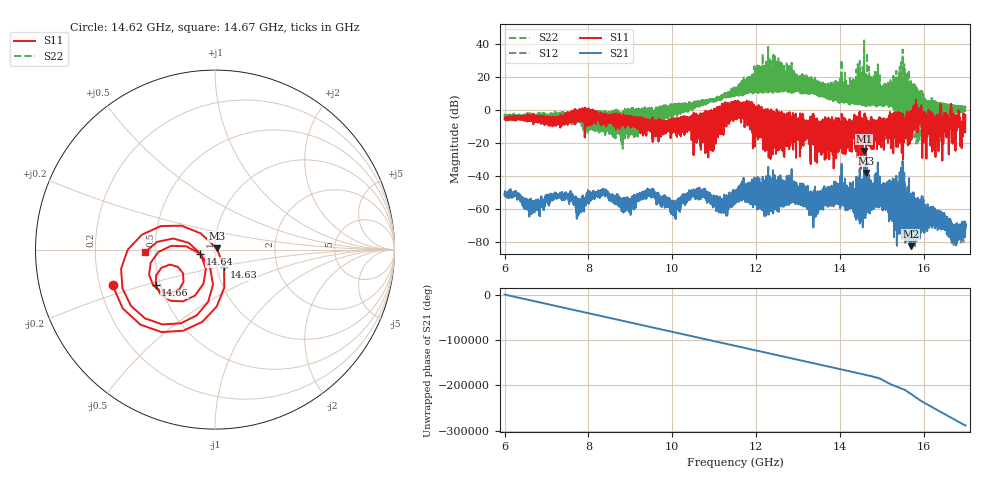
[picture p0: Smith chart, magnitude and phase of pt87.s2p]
#  HZ  S  RI  R  50.00
! Rohde & Schwarz Vector Network Analyzer
! Rohde-Schwarz,ZNA67-2Port,1332450062101215,3.01
! Created: UTC 10/19/2026, 10:33:30 AM
! freq[Hz]  re:S11  im:S11  re:S21  im:S21  re:S12  im:S12  re:S22  im:S22
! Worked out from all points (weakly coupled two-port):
!   11001 points, 6 GHz to 17 GHz, reference 50 ohm
!   highest |S21| = -24.96 dB at 14.58 GHz (marker M1); lowest = -82.7 dB at 15.69 GHz (marker M2)
!   lowest |S11| = -38.4 dB at 14.63 GHz (marker M3), VSWR 1.02, Z = 51 + j0.74 ohm
!   |S11| at or under -10 dB: 13.46879 GHz to 13.49492 GHz (26.14 MHz wide, 0.194 % of centre); 13.68905 GHz to 13.71524 GHz (26.19 MHz wide, 0.191 % of centre); 13.92232 GHz to 13.94879 GHz (26.48 MHz wide, 0.19 % of centre) (the widest 3 of 520)
!   |S22| runs from -23.6 to 42.0 dB; largest |S21 - S12| = 0.0068
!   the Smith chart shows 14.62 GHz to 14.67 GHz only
!   S11 on the Smith chart (normalised r, x): 14.62 GHz: 0.25, -0.16; 14.63 GHz: 1.08, -0.21; 14.64 GHz: 0.85, -0.04; 14.66 GHz: 0.47, -0.22; 14.67 GHz: 0.44, -0.02
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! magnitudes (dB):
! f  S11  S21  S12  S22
! 6 GHz  -5.8  -51.2  -51.3  -4.7
! 7.834 GHz  -3.3  -58.3  -58.3  -1.3
! 9.667 GHz  -6.1  -50.2  -50.5  2.1
! 10.04 GHz  -11.5  -62.4  -62.1  -0.6
! 10.62 GHz  -3.8  -49.7  -49.7  3.4
! 11.16 GHz  -14.8  -56.5  -56.9  5.9
! 11.5 GHz  5.0  -52.9  -52.7  10.5
! 12.84 GHz  -9.5  -51.6  -51.5  12.3
! 13.33 GHz  -12.7  -57.9  -58.2  12.0
! 13.96 GHz  -12.1  -57.2  -56.8  4.5
! 14.58 GHz  -9.5  -25.0  -24.6  42.0
! 14.62 GHz  -4.4  -52.9  -51.2  13.9
! 14.63 GHz  -19.2  -55.4  -54.8  8.6
! 14.63 GHz  -38.4  -62.9  -63.3  5.3
! 14.64 GHz  -21.3  -60.3  -60.6  3.2
! 14.66 GHz  -8.3  -54.4  -53.8  7.7
! 14.67 GHz  -8.1  -54.7  -54.2  7.3
! 15.17 GHz  -14.6  -55.4  -54.8  8.7
! 15.69 GHz  -5.3  -82.7  -81.9  -10.6
! 15.79 GHz  -5.7  -69.0  -69.1  2.4
! 16.23 GHz  -8.5  -63.5  -63.4  2.0
! 17 GHz  -3.2  -70.5  -72.5  1.4
